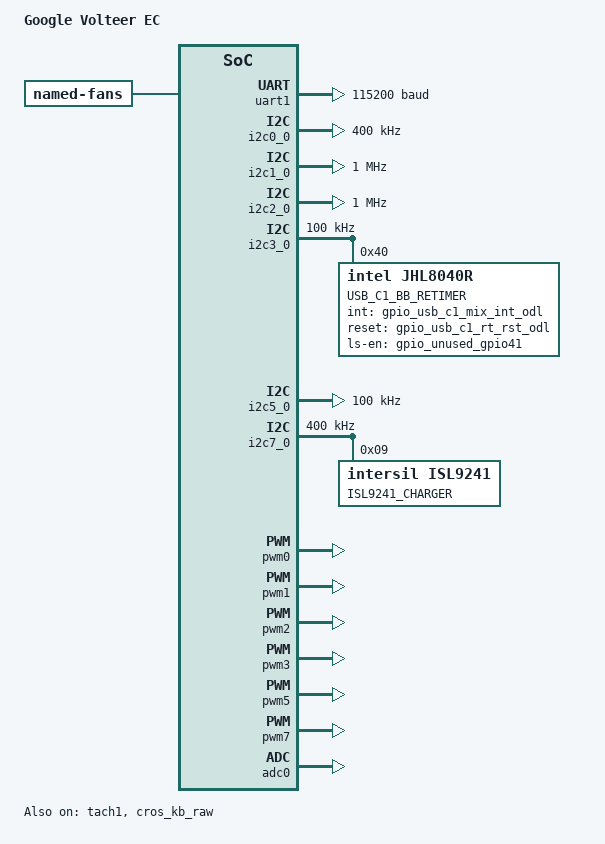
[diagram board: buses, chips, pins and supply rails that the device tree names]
/*
 * Copyright (c) 2020 The Chromium OS Authors
 *
 * SPDX-License-Identifier: Apache-2.0
 */

/dts-v1/;

#include <cros/nuvoton/npcx.dtsi>
#include <dt-bindings/gpio_defines.h>
#include <dt-bindings/charger/intersil_isl9241.h>
#include <nuvoton/npcx7m6fb.dtsi>

/ {
	model = "Google Volteer EC";

	aliases {
		i2c-0 = &i2c0_0;
		i2c-1 = &i2c1_0;
		i2c-2 = &i2c2_0;
		i2c-3 = &i2c3_0;
		i2c-5 = &i2c5_0;
		i2c-7 = &i2c7_0;
	};

	chosen {
		zephyr,sram = &sram0;
		zephyr,console = &uart1;
		zephyr,shell-uart = &uart1;
		zephyr,flash = &flash0;
		cros,rtc = &mtc;
	};

	ec-console {
		compatible = "ec-console";

		disabled = "hostcmd";
	};

	named-batteries {
		compatible = "named-batteries";

		lgc011 {
			enum-name = "lgc011";
		};
	};

	named-i2c-ports {
		compatible = "named-i2c-ports";

		i2c_sensor: sensor {
			i2c-port = <&i2c0_0>;
			label = "SENSOR";
		};
		usb-c0 {
			i2c-port = <&i2c1_0>;
			label = "USB_C0";
		};
		usb-c1 {
			i2c-port = <&i2c2_0>;
			label = "USB_C1";
		};
		usb1-mix {
			i2c-port = <&i2c3_0>;
			label = "USB_1_MIX";
		};
		power {
			i2c-port = <&i2c5_0>;
			label = "POWER";
		};
		eeprom {
			i2c-port = <&i2c7_0>;
			label = "EEPROM";
		};
	};

	named-pwms {
		compatible = "named-pwms";

		led1_blue {
			pwms = <&pwm2 0 PWM_POLARITY_INVERTED>;
			label = "LED1_BLUE";
			frequency = <4800>;
		};
		led2_green  {
			pwms = <&pwm0 0 PWM_POLARITY_INVERTED>;
			label = "LED2_GREEN";
			frequency = <4800>;
		};
		led3_red {
			pwms = <&pwm1 0 PWM_POLARITY_INVERTED>;
			label = "LED3_RED";
			frequency = <4800>;
		};
		led3_sidesel {
			pwms = <&pwm7 0 PWM_POLARITY_INVERTED>;
			label = "LED4_SIDESEL";
			frequency = <2400>;
		};
		kblight {
			pwms = <&pwm3 0 0>;
			label = "KBLIGHT";
			frequency = <2400>;
		};
		pwm_fan: fan {
			pwms = <&pwm5 0 0>;
			label = "FAN";
			frequency = <25000>;
		};
	};

	named-adc-channels {
		compatible = "named-adc-channels";

		adc_charger: charger {
			label = "ADC_TEMP_SENSOR_CHARGER";
			channel = <0>;
		};
		adc_pp3300_regulator: pp3300_regulator {
			label = "ADC_TEMP_SENSOR_PP3300_REGULATOR";
			channel = <1>;
		};
		adc_ddr_soc: ddr_soc {
			label = "ADC_TEMP_SENSOR_DDR_SOC";
			channel = <8>;
		};
		adc_fan: fan {
			label = "ADC_TEMP_SENSOR_FAN";
			channel = <3>;
		};
	};

	named-temp-sensors {
		charger {
			compatible = "temp-3v3-30k9-47k-4050b";
			label = "TEMP_SENSOR_CHARGER";
			temp_fan_off = <40>;
			temp_fan_max = <55>;
			temp_host_high = <75>;
			temp_host_halt = <80>;
			temp_host_release_high = <65>;
			adc = <&adc_charger>;
		};
		pp3300_regulator {
			compatible = "temp-3v3-30k9-47k-4050b";
			label = "TEMP_SENSOR_PP3300_REGULATOR";
			temp_fan_off = <40>;
			temp_fan_max = <55>;
			temp_host_high = <75>;
			temp_host_halt = <80>;
			temp_host_release_high = <65>;
			adc = <&adc_pp3300_regulator>;
		};
		ddr_soc {
			compatible = "temp-3v3-30k9-47k-4050b";
			label = "TEMP_SENSOR_DDR_SOC";
			temp_fan_off = <35>;
			temp_fan_max = <50>;
			temp_host_high = <70>;
			temp_host_halt = <80>;
			temp_host_release_high = <65>;
			adc = <&adc_ddr_soc>;
		};
		fan {
			compatible = "temp-3v3-30k9-47k-4050b";
			label = "TEMP_SENSOR_FAN";
			temp_fan_off = <35>;
			temp_fan_max = <50>;
			temp_host_high = <70>;
			temp_host_halt = <80>;
			temp_host_release_high = <65>;
			adc = <&adc_fan>;
		};
	};

	named-fans {
		compatible = "named-fans";

		fan_0 {
			label = "FAN_0";
			pwm = <&pwm_fan>;
			rpm_min = <1900>;
			rpm_start = <1900>;
			rpm_max = <5900>;
			tach = <&tach1>;
			enable_gpio = <&gpio_en_pp5000_fan>;
		};
	};

	named-gpios {
		compatible = "named-gpios";

		ec_lid_open {
			gpios = <&gpiod 2 GPIO_INPUT>;
			label = "EC_LID_OPEN";
		};
		ec_wp_l {
			gpios = <&gpioa 1 GPIO_INPUT>;
			label = "EC_WP_L";
		};
		h1_ec_pwr_btn_odl {
			gpios = <&gpio0 1 GPIO_INPUT>;
			label = "H1_EC_PWR_BTN_ODL";
		};
		acok_od {
			gpios = <&gpio0 0 GPIO_INPUT>;
			label = "ACOK_OD";
		};
		slp_s0_l {
			gpios = <&gpiod 5 GPIO_INPUT>;
			label = "SLP_S0_L";
		};
		slp_s3_l {
			gpios = <&gpioa 5 GPIO_INPUT>;
			label = "SLP_S3_L";
		};
		slp_sus_l {
			gpios = <&gpiod 7 GPIO_INPUT>;
			label = "SLP_SUS_L";
		};
		pg_ec_rsmrst_odl {
			gpios = <&gpioe 2 GPIO_INPUT>;
			label = "PG_EC_RSMRST_ODL";
		};
		pg_ec_dsw_pwrok {
			gpios = <&gpioc 7 GPIO_INPUT>;
			label = "PG_EC_DSW_PWROK";
		};
		pg_ec_all_sys_pwrgd {
			gpios = <&gpiof 4 GPIO_INPUT>;
			label = "PG_EC_ALL_SYS_PWRGD";
		};
		gpio_ec_imu_int_l: ec_imu_int_l {
			gpios = <&gpio5 6 GPIO_INPUT>;
			label = "EC_IMU_INT_L";
		};
		gpio_ec_als_rgb_int_l: ec_als_rgb_int_l {
			gpios = <&gpiod 4 GPIO_INPUT>;
			label = "EC_ALS_RGB_INT_L";
		};
		tablet_mode_l {
			gpios = <&gpio9 5 GPIO_INPUT>;
			label = "TABLET_MODE_L";
		};
		ec_accel_int {
			gpios = <&gpio8 1 (GPIO_INPUT | GPIO_PULL_UP)>;
			label = "EC_ACCEL_INT";
		};
		usb_c0_tcpc_int_odl {
			gpios = <&gpioe 0 GPIO_INPUT>;
			label = "USB_C0_TCPC_INT_ODL";
		};
		usb_c1_tcpc_int_odl {
			gpios = <&gpioa 2 GPIO_INPUT>;
			label = "USB_C1_TCPC_INT_ODL";
		};
		usb_c0_ppc_int_odl {
			gpios = <&gpio6 2 GPIO_INPUT>;
			label = "USB_C0_PPC_INT_ODL";
		};
		usb_c1_ppc_int_odl {
			gpios = <&gpiof 5 GPIO_INPUT>;
			label = "USB_C1_PPC_INT_ODL";
		};
		usb_c0_bc12_int_odl {
			gpios = <&gpioe 4 GPIO_INPUT>;
			label = "USB_C0_BC12_INT_ODL";
		};
		gpio_usb_c1_mix_int_odl: usb_c1_mix_int_odl {
			#gpio-cells = <0>;
			gpios = <&gpio0 3 GPIO_INPUT>;
			label = "USB_C1_MIX_INT_ODL";
		};
		usb_c1_frs_en {
			gpios = <&gpio9 4 GPIO_OUT_LOW>;
			label = "USB_C1_FRS_EN";
		};
		ec_voldn_btn_odl {
			gpios = <&gpio9 3 (GPIO_INPUT | GPIO_PULL_UP)>;
			label = "EC_VOLDN_BTN_ODL";
		};
		ec_volup_btn_odl {
			gpios = <&gpio9 7 (GPIO_INPUT | GPIO_PULL_UP)>;
			label = "EC_VOLUP_BTN_ODL";
		};
		en_pp3300_a {
			gpios = <&gpioa 3 GPIO_OUT_LOW>;
			label = "EN_PP3300_A";
		};
		en_pp5000_a {
			gpios = <&gpioa 4 GPIO_OUT_LOW>;
			label = "EN_PP5000_A";
		};
		en_ppvar_vccin {
			gpios = <&gpio4 3 GPIO_OUT_LOW>;
			label = "EN_PPVAR_VCCIN";
		};
		ec_pch_dsw_pwrok {
			gpios = <&gpioc 0 GPIO_OUT_LOW>;
			label = "EC_PCH_DSW_PWROK";
		};
		ec_rst_odl {
			gpios = <&gpio0 2 GPIO_INPUT>;
			label = "EC_RST_ODL";
		};
		ec_pch_sys_pwrok {
			gpios = <&gpio3 7 GPIO_OUT_LOW>;
			label = "EC_PCH_SYS_PWROK";
		};
		ec_pch_rsmrst_odl {
			gpios = <&gpioa 6 GPIO_ODR_LOW>;
			label = "EC_PCH_RSMRST_ODL";
		};
		ec_pch_pwr_btn_odl {
			gpios = <&gpioc 1 GPIO_ODR_HIGH>;
			label = "EC_PCH_PWR_BTN_ODL";
		};
		ec_pch_rtcrst {
			gpios = <&gpio7 6 GPIO_OUT_LOW>;
			label = "EC_PCH_RTCRST";
		};
		ec_pch_wake_odl {
			gpios = <&gpio7 4 GPIO_ODR_HIGH>;
			label = "EC_PCH_WAKE_ODL";
		};
		ec_entering_rw {
			gpios = <&gpioe 3 GPIO_OUT_LOW>;
			label = "EC_ENTERING_RW";
		};
		ec_prochot_odl {
			gpios = <&gpio6 3 GPIO_ODR_HIGH>;
			label = "EC_PROCHOT_ODL";
		};
		ec_prochot_in_l {
			gpios = <&gpiof 0 GPIO_INPUT>;
			label = "EC_PROCHOT_IN_L";
		};
		sys_rst_odl {
			gpios = <&gpioc 5 GPIO_ODR_HIGH>;
			label = "SYS_RST_ODL";
		};
		ec_pch_int_odl {
			gpios = <&gpiob 0 GPIO_ODR_HIGH>;
			label = "EC_PCH_INT_ODL";
		};
		en_pp5000_usba {
			gpios = <&gpioc 6 GPIO_OUT_LOW>;
			label = "EN_PP5000_USBA";
		};
		usb_a_low_pwr_od {
			gpios = <&gpio6 6 GPIO_ODR_LOW>;
			label = "USB_A_LOW_PWR_OD";
		};
		gpio_usb_c1_rt_rst_odl_boardid_0: usb_c1_rt_rst_odl_boardid_0 {
			#gpio-cells = <0>;
			gpios = <&gpio3 2 GPIO_ODR_LOW>;
			label = "USB_C1_RT_RST_ODL_BOARDID_0";
		};
		gpio_usb_c1_rt_rst_odl: usb_c1_rt_rst_odl {
			#gpio-cells = <0>;
			gpios = <&gpio8 3 GPIO_ODR_LOW>;
			label = "USB_C1_RT_RST_ODL";
		};
		usb_c0_oc_odl {
			gpios = <&gpiob 1 GPIO_ODR_HIGH>;
			label = "USB_C0_OC_ODL";
		};
		usb_c1_oc_odl {
			gpios = <&gpio5 0 GPIO_ODR_HIGH>;
			label = "USB_C1_OC_ODL";
		};
		usb_c1_rt_int_odl {
			gpios = <&gpiof 3 GPIO_INPUT>;
			label = "USB_C1_RT_INT_ODL";
		};
		ec_h1_packet_mode {
			gpios = <&gpio7 5 GPIO_OUT_LOW>;
			label = "EC_H1_PACKET_MODE";
		};
		m2_ssd_pln {
			gpios = <&gpioa 0 GPIO_ODR_HIGH>;
			label = "M2_SSD_PLN";
		};
		m2_ssd_pla {
			gpios = <&gpio7 0 GPIO_INPUT>;
			label = "M2_SSD_PLA";
		};
		ccd_mode_odl {
			gpios = <&gpioe 5 GPIO_INPUT>;
			label = "CCD_MODE_ODL";
		};
		ec_slp_s0ix {
			gpios = <&gpio7 2 (GPIO_INPUT | GPIO_PULL_UP)>;
			label = "EC_SLP_S0IX";
		};
		gpio_unused_gpio41: unused_gpio41 {
			#gpio-cells = <0>;
			gpios = <&gpio4 1 (GPIO_INPUT | GPIO_PULL_UP)>;
			label = "UNUSED_GPIO41";
		};
		unused_gpiof2 {
			gpios = <&gpiof 2 (GPIO_INPUT | GPIO_PULL_UP)>;
			label = "UNUSED_GPIOF2";
		};
		unused_gpio96 {
			gpios = <&gpio9 6 (GPIO_INPUT | GPIO_PULL_UP)>;
			label = "UNUSED_GPIO96";
		};
		unused_gpio34 {
			gpios = <&gpio3 4 (GPIO_INPUT | GPIO_PULL_UP)>;
			label = "UNUSED_GPIO34";
		};
		ec_kb_bl_en {
			gpios = <&gpio8 6 (GPIO_INPUT | GPIO_PULL_UP)>;
			label = "EC_KB_BL_EN";
		};
		ec_espi_alert_l {
			gpios = <&gpio5 7 (GPIO_INPUT | GPIO_PULL_UP)>;
			label = "EC_ESPI_ALERT_L";
		};
		ec_edp_bl_en {
			gpios = <&gpiod 3 GPIO_OUT_HIGH>;
			label = "EC_EDP_BL_EN";
		};
		ec_i2c0_sensor_scl {
			gpios = <&gpiob 5 GPIO_INPUT>;
			label = "EC_I2C0_SENSOR_SCL";
		};
		ec_i2c0_sensor_sda {
			gpios = <&gpiob 4 GPIO_INPUT>;
			label = "EC_I2C0_SENSOR_SDA";
		};
		ec_i2c1_usb_c0_scl {
			gpios = <&gpio9 0 GPIO_INPUT>;
			label = "EC_I2C1_USB_C0_SCL";
		};
		ec_i2c1_usb_c0_sda {
			gpios = <&gpio8 7 GPIO_INPUT>;
			label = "EC_I2C1_USB_C0_SDA";
		};
		ec_i2c2_usb_c1_scl {
			gpios = <&gpio9 2 GPIO_INPUT>;
			label = "EC_I2C2_USB_C1_SCL";
		};
		ec_i2c2_usb_c1_sda {
			gpios = <&gpio9 1 GPIO_INPUT>;
			label = "EC_I2C2_USB_C1_SDA";
		};
		ec_i2c3_usb_1_mix_scl {
			gpios = <&gpiod 1 GPIO_INPUT>;
			label = "EC_I2C3_USB_1_MIX_SCL";
		};
		ec_i2c3_usb_1_mix_sda {
			gpios = <&gpiod 0 GPIO_INPUT>;
			label = "EC_I2C3_USB_1_MIX_SDA";
		};
		ec_i2c5_battery_scl {
			gpios = <&gpio3 3 GPIO_INPUT>;
			label = "EC_I2C5_BATTERY_SCL";
		};
		ec_i2c5_battery_sda {
			gpios = <&gpio3 6 GPIO_INPUT>;
			label = "EC_I2C5_BATTERY_SDA";
		};
		ec_i2c7_eeprom_pwr_scl_r {
			gpios = <&gpiob 3 GPIO_INPUT>;
			label = "EC_I2C7_EEPROM_PWR_SCL_R";
		};
		ec_i2c7_eeprom_pwr_sda_r {
			gpios = <&gpiob 2 GPIO_INPUT>;
			label = "EC_I2C7_EEPROM_PWR_SDA_R";
		};
		ec_batt_pres_odl {
			gpios = <&gpioe 1 GPIO_INPUT>;
			label = "EC_BATT_PRES_ODL";
		};
		gpio_en_pp5000_fan: en_pp5000_fan {
			gpios = <&gpio6 1 GPIO_OUT_LOW>;
			label = "EN_PP5000_FAN";
		};
		ec_kso_02_inv {
			gpios = <&gpio1 7 GPIO_OUT_LOW>;
			label = "EC_KSO_02_INV";
		};
	};

	def_lvol_io_list {
		compatible = "nuvoton,npcx-lvolctrl-def";
		lvol_io_pads = <&lvol_iob4 &lvol_iob5>; /* I2C_SDA0 & SCL0 */
	};

	soc {
		cros_kb_raw: cros-kb-raw@400a3000 {
			compatible = "nuvoton,npcx-cros-kb-raw";
			reg = <0x400a3000 0x2000>;
			label = "CROS_KB_RAW_0";
			interrupts = <49 0>;
			clocks = <&pcc NPCX_CLOCK_BUS_APB1 NPCX_PWDWN_CTL1 0>;
			/* No KSO2 (it's inverted and implemented by GPIO.) */
			pinctrl-0 = <&alt7_no_ksi0_sl /* KSI0 PIN31 */
				     &alt7_no_ksi1_sl /* KSI1 PIN30 */
				     &alt7_no_ksi2_sl /* KSI2 PIN27 */
				     &alt7_no_ksi3_sl /* KSI3 PIN26 */
				     &alt7_no_ksi4_sl /* KSI4 PIN25 */
				     &alt7_no_ksi5_sl /* KSI5 PIN24 */
				     &alt7_no_ksi6_sl /* KSI6 PIN23 */
				     &alt7_no_ksi7_sl /* KSI7 PIN22 */
				     &alt8_no_kso00_sl /* KSO00 PIN21 */
				     &alt8_no_kso01_sl /* KSO01 PIN20 */
				     &alt8_no_kso03_sl /* KSO03 PIN16 */
				     &alt8_no_kso04_sl /* KSO04 PIN15 */
				     &alt8_no_kso05_sl /* KSO05 PIN14 */
				     &alt8_no_kso06_sl /* KSO06 PIN13 */
				     &alt8_no_kso07_sl /* KSO07 PIN12 */
				     &alt9_no_kso08_sl /* KSO08 PIN11 */
				     &alt9_no_kso09_sl /* KSO09 PIN10 */
				     &alt9_no_kso10_sl /* KSO10 PIN07 */
				     &alt9_no_kso11_sl /* KSO11 PIN06 */
				     &alt9_no_kso12_sl /* KSO12 PIN05 */
				     &alt9_no_kso13_sl /* KSO13 PIN04 */
				     &alt9_no_kso14_sl /* KSO14 PIN82 */
				     >;
			wui_maps = <&wui_io31 &wui_io30 &wui_io27 &wui_io26
				    &wui_io25 &wui_io24 &wui_io23 &wui_io22>;
			status = "disabled";
		};

		fiu0: cros-flash@40020000 {
			compatible = "nuvoton,npcx-cros-flash";
			reg = <0x40020000 0x2000>;
			clocks = <&pcc NPCX_CLOCK_BUS_APB3 NPCX_PWDWN_CTL1 2>;
			size = <0x80000>;
			label = "FLASH_INTERFACE_UNIT0";
			pinctrl-0 = <>;
		};
	};

	/*
	 * The NPCX loader copies our image from ROM to code RAM, so the flash
	 * node actually represents the code RAM location and size.
	 * Override the code RAM for the NPCX797FC.
	 */
	/delete-node/ flash@10090000;
	flash0: flash@10070000 {
		reg = <0x10070000 0x40000>;
	};
};

#include "volteer_motionsense.dtsi"

&uart1 {
	status = "okay";
	current-speed = <115200>;
	pinctrl-0 = <&altc_uart1_sl2>; /* Use UART1_SL2 ie. PIN64.65 */
};

&i2c0_0 {
	status = "okay";
	clock-frequency = <I2C_BITRATE_FAST>;
};

&i2c1_0 {
	status = "okay";
	clock-frequency = <I2C_BITRATE_FAST_PLUS>;
};

&i2c2_0 {
	status = "okay";
	clock-frequency = <I2C_BITRATE_FAST_PLUS>;
};

&i2c3_0 {
	status = "okay";
	clock-frequency = <I2C_BITRATE_STANDARD>;

	usb_c1_bb_retimer: jhl8040r@40 {
		compatible = "intel,jhl8040r";
		reg = <0x40>;
		label = "USB_C1_BB_RETIMER";
		int-gpios = <&gpio_usb_c1_mix_int_odl>;
		reset-gpios = <&gpio_usb_c1_rt_rst_odl>;
		ls-en-gpios = <&gpio_unused_gpio41>;
	};
};

&i2c5_0 {
	status = "okay";
	clock-frequency = <I2C_BITRATE_STANDARD>;
};

&i2c7_0 {
	status = "okay";
	clock-frequency = <I2C_BITRATE_FAST>;

	isl9241: isl9241@9 {
		compatible = "intersil,isl9241";
		reg = <0x09>;
		label = "ISL9241_CHARGER";
		switching-frequency = <SWITCHING_FREQ_724KHZ>;
	};
};

&cros_kb_raw {
	status = "okay";
};

/* Green LED */
&pwm0 {
	status = "okay";
};

/* Red LED */
&pwm1 {
	status = "okay";
};

/* Blue LED */
&pwm2 {
	status = "okay";
};

/* Keyboard backlight */
&pwm3 {
	status = "okay";
};

/* Fan control */
&pwm5 {
	status = "okay";
};

/* Side selection LED */
&pwm7 {
	status = "okay";
};

&adc0 {
	status = "okay";
};

/* Tachemeter for fan speed measurement */
&tach1 {
	status = "okay";
	pinctrl-0 = <&alt3_ta1_sl1>; /* Use TA1 as input pin */
	port = <NPCX_TACH_PORT_A>; /* port-A is selected */
	sample_clk = <NPCX_TACH_FREQ_LFCLK>; /* Use LFCLK as sampling clock */
	pulses_per_round = <2>; /* number of pulses per round of encoder */
};
